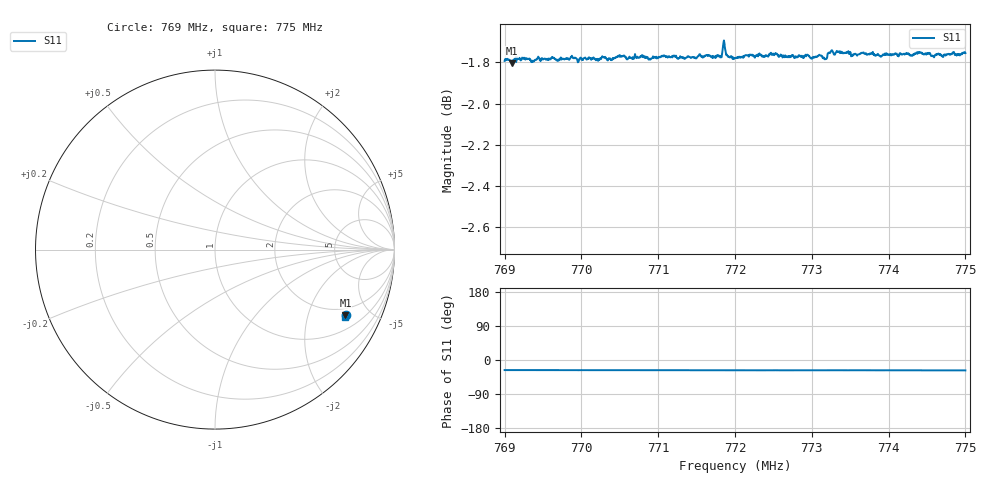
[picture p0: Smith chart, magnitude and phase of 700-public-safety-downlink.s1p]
! Calibrated averaged scanner-service zoom
# Hz S RI R 50
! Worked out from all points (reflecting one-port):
!   1001 points, 769 MHz to 775 MHz, reference 50 ohm
!   lowest |S11| = -1.8 dB at 769.096 MHz (marker M1), VSWR 9.67, Z = 82 - j176 ohm
!   phase of S11 starts at -27 deg and turns -1 deg over the sweep
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7.69e8  0.7273 -0.3646
7.69096e8  0.7265 -0.3638
7.69144e8  0.7281 -0.3666
7.69396e8  0.7277 -0.3648
7.6975e8  0.7273 -0.3662
7.70362e8  0.7264 -0.3687
7.705e8  0.7283 -0.3684
7.7125e8  0.7262 -0.3691
7.71772e8  0.7265 -0.3716
7.71808e8  0.7253 -0.372
7.71844e8  0.7294 -0.3753
7.71874e8  0.7282 -0.3738
7.7191e8  0.7258 -0.3718
7.72e8  0.7254 -0.3714
7.7218e8  0.726 -0.3714
7.72522e8  0.7266 -0.3727
7.72612e8  0.7253 -0.3739
7.7275e8  0.7257 -0.3728
7.73104e8  0.7262 -0.3726
7.7317e8  0.7246 -0.3714
7.73248e8  0.7284 -0.3719
7.735e8  0.7278 -0.3726
7.7377e8  0.7272 -0.3721
7.73872e8  0.7257 -0.3733
7.7425e8  0.7263 -0.3737
7.7464e8  0.7266 -0.3725
7.74892e8  0.7253 -0.3749
7.75e8  0.7251 -0.3766
